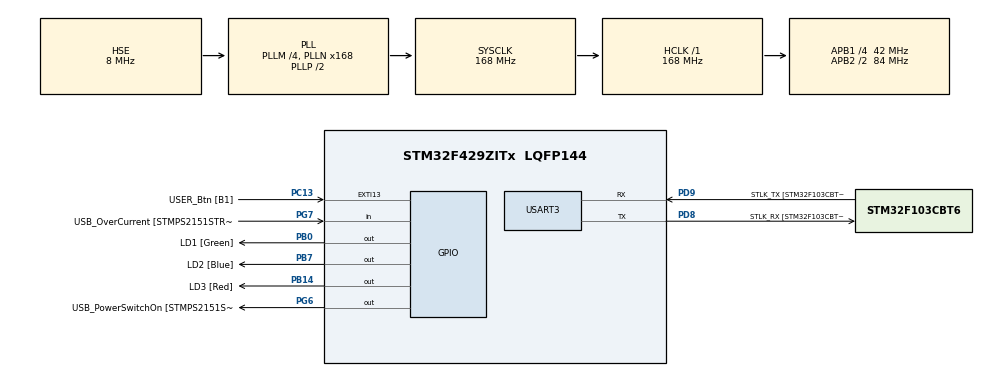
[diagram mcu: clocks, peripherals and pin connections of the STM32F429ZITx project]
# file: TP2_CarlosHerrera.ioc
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Mcu.Family=STM32F4
Mcu.Name=STM32F429ZITx
Mcu.Package=LQFP144
NVIC.PriorityGroup=NVIC_PRIORITYGROUP_4
NVIC.TIM1_UP_TIM10_IRQn=true\:15\:0\:false\:false\:true\:false\:true\:true
NVIC.TimeBase=TIM1_UP_TIM10_IRQn
NVIC.TimeBaseIP=TIM1
PA1.GPIO_Label=RMII_REF_CLK [LAN8742A-CZ-TR_REFCLK0]
PA1.Signal=ETH_REF_CLK
PA10.GPIO_Label=USB_ID
PA10.Signal=USB_OTG_FS_ID
PA11.GPIO_Label=USB_DM
PA11.Signal=USB_OTG_FS_DM
PA12.GPIO_Label=USB_DP
PA12.Signal=USB_OTG_FS_DP
PA13.GPIO_Label=TMS
PA13.Mode=Serial_Wire
PA13.Signal=SYS_JTMS-SWDIO
PA14.GPIO_Label=TCK
PA14.Mode=Serial_Wire
PA14.Signal=SYS_JTCK-SWCLK
PA2.GPIO_Label=RMII_MDIO [LAN8742A-CZ-TR_MDIO]
PA2.Signal=ETH_MDIO
PA7.GPIO_Label=RMII_CRS_DV [LAN8742A-CZ-TR_CRS_DV]
PA7.Signal=ETH_CRS_DV
PA8.GPIO_Label=USB_SOF [TP1]
PA8.Signal=USB_OTG_FS_SOF
PA9.GPIO_Label=USB_VBUS
PA9.Signal=USB_OTG_FS_VBUS
PB0.GPIO_Label=LD1 [Green]
PB0.Signal=GPIO_Output
PB13.GPIO_Label=RMII_TXD1 [LAN8742A-CZ-TR_TXD1]
PB13.Signal=ETH_TXD1
PB14.GPIO_Label=LD3 [Red]
PB14.Signal=GPIO_Output
PB7.GPIO_Label=LD2 [Blue]
PB7.Signal=GPIO_Output
PC1.GPIO_Label=RMII_MDC [LAN8742A-CZ-TR_MDC]
PC1.Signal=ETH_MDC
PC13.GPIO_Label=USER_Btn [B1]
PC13.Signal=GPXTI13
PC14/OSC32_IN.Mode=LSE-External-Oscillator
PC14/OSC32_IN.Signal=RCC_OSC32_IN
PC15/OSC32_OUT.Mode=LSE-External-Oscillator
PC15/OSC32_OUT.Signal=RCC_OSC32_OUT
PC4.GPIO_Label=RMII_RXD0 [LAN8742A-CZ-TR_RXD0]
PC4.Signal=ETH_RXD0
PC5.GPIO_Label=RMII_RXD1 [LAN8742A-CZ-TR_RXD1]
PC5.Signal=ETH_RXD1
PD8.GPIO_Label=STLK_RX [STM32F103CBT6_PA3]
PD8.Mode=Asynchronous
PD8.Signal=USART3_TX
PD9.GPIO_Label=STLK_TX [STM32F103CBT6_PA2]
PD9.Mode=Asynchronous
PD9.Signal=USART3_RX
PG11.GPIO_Label=RMII_TX_EN [LAN8742A-CZ-TR_TXEN]
PG11.Signal=ETH_TX_EN
PG13.GPIO_Label=RMII_TXD0 [LAN8742A-CZ-TR_TXD0]
PG13.Signal=ETH_TXD0
PG6.GPIO_Label=USB_PowerSwitchOn [STMPS2151STR_EN]
PG6.Signal=GPIO_Output
PG7.GPIO_Label=USB_OverCurrent [STMPS2151STR_FAULT]
PG7.Signal=GPIO_Input
PH0/OSC_IN.GPIO_Label=MCO [STM32F103CBT6_PA8]
PH0/OSC_IN.Mode=HSE-External-Clock-Source
PH0/OSC_IN.Signal=RCC_OSC_IN
PH1/OSC_OUT.Mode=HSE-External-Clock-Source
PH1/OSC_OUT.Signal=RCC_OSC_OUT
ProjectManager.HeapSize=0x200
ProjectManager.StackSize=0x400
ProjectManager.TargetToolchain=STM32CubeIDE
RCC.48MHZClocksFreq_Value=48000000
RCC.AHBFreq_Value=168000000
RCC.APB1CLKDivider=RCC_HCLK_DIV4
RCC.APB1Freq_Value=42000000
RCC.APB1TimFreq_Value=84000000
RCC.APB2CLKDivider=RCC_HCLK_DIV2
RCC.APB2Freq_Value=84000000
RCC.APB2TimCLKDivider=2
RCC.APB2TimFreq_Value=168000000
RCC.CortexFreq_Value=168000000
RCC.HCLKFreq_Value=168000000
RCC.HSE_VALUE=8000000
RCC.HSI_VALUE=16000000
RCC.PLLM=4
RCC.PLLMUL=RCC_PLL_MUL9
RCC.PLLN=168
RCC.PLLQ=7
RCC.PLLSourceVirtual=RCC_PLLSOURCE_HSE
RCC.PRESCALERUSB=RCC_USBCLKSOURCE_PLL_DIV1_5
RCC.SYSCLKFreq_VALUE=168000000
RCC.SYSCLKSource=RCC_SYSCLKSOURCE_PLLCLK
RCC.SYSCLKSourceVirtual=RCC_SYSCLKSOURCE_PLLCLK
RCC.USBFreq_Value=48000000
RCC.VCOOutputFreq_Value=336000000
USART3.VirtualMode=VM_ASYNC
VP_SYS_VS_tim1.Mode=TIM1
board=NUCLEO-F429ZI

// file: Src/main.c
/* USER CODE BEGIN Header */
/**
  ******************************************************************************
  * @file           : main.c
  * @brief          : Main program body
  ******************************************************************************
  * @attention
  *
  * Copyright (c) 2023 STMicroelectronics.
  * All rights reserved.
  *
  * This software is licensed under terms that can be found in the LICENSE file
  * in the root directory of this software component.
  * If no LICENSE file comes with this software, it is provided AS-IS.
  *
  ******************************************************************************
  */
/* USER CODE END Header */
#include "main.h"
#include "usart.h"
#include "gpio.h"

/* USER CODE BEGIN Includes */
#include "osKernel.h"
/* USER CODE END Includes */

/* USER CODE BEGIN PV */
osTaskObject osTask1;
osTaskObject osTask2;
osTaskObject osTask3;
osTaskObject osTask4;
osTaskObject osTask5;

uint32_t i = 0;
uint32_t j = 0;
uint32_t k = 0;
uint32_t m = 0;
uint32_t n = 0;
uint32_t w = 0;
uint32_t xy = 0;
/* USER CODE END PV */

void SystemClock_Config(void);
/* USER CODE BEGIN PFP */
static void task1(void);
static void task2(void);
static void task3(void);
static void task4(void);
static void task5(void);
/* USER CODE END PFP */

int main(void)
{

  /* MCU Configuration--------------------------------------------------------*/

  /* Reset of all peripherals, Initializes the Flash interface and the Systick. */
  HAL_Init();

  /* Configure the system clock */
  SystemClock_Config();

  /* Initialize all configured peripherals */
  MX_GPIO_Init();
  MX_USART3_UART_Init();
  /* USER CODE BEGIN 2 */
  osTaskCreate(&osTask1, OS_LOW_PRIORITY, task1);
  osTaskCreate(&osTask2, OS_HIGH_PRIORITY, task2);
  osTaskCreate(&osTask3, OS_HIGH_PRIORITY, task3);
  osTaskCreate(&osTask4, OS_LOW_PRIORITY, task4);
  osTaskCreate(&osTask5, OS_LOW_PRIORITY, task5);

  osStart();
  /* USER CODE END 2 */

  /* Infinite loop */
  while (1)
  {

    /* USER CODE BEGIN 3 */
      __WFI();
  }
  /* USER CODE END 3 */
}

void SystemClock_Config(void)
{
  RCC_OscInitTypeDef RCC_OscInitStruct = {0};
  RCC_ClkInitTypeDef RCC_ClkInitStruct = {0};

  /** Configure the main internal regulator output voltage
  */
  __HAL_RCC_PWR_CLK_ENABLE();
  __HAL_PWR_VOLTAGESCALING_CONFIG(PWR_REGULATOR_VOLTAGE_SCALE1);

  /** Initializes the RCC Oscillators according to the specified parameters
  * in the RCC_OscInitTypeDef structure.
  */
  RCC_OscInitStruct.OscillatorType = RCC_OSCILLATORTYPE_HSE;
  RCC_OscInitStruct.HSEState = RCC_HSE_BYPASS;
  RCC_OscInitStruct.PLL.PLLState = RCC_PLL_ON;
  RCC_OscInitStruct.PLL.PLLSource = RCC_PLLSOURCE_HSE;
  RCC_OscInitStruct.PLL.PLLM = 4;
  RCC_OscInitStruct.PLL.PLLN = 168;
  RCC_OscInitStruct.PLL.PLLP = RCC_PLLP_DIV2;
  RCC_OscInitStruct.PLL.PLLQ = 7;
  if (HAL_RCC_OscConfig(&RCC_OscInitStruct) != HAL_OK)
  {
    Error_Handler();
  }

  /** Initializes the CPU, AHB and APB buses clocks
  */
  RCC_ClkInitStruct.ClockType = RCC_CLOCKTYPE_HCLK|RCC_CLOCKTYPE_SYSCLK
                              |RCC_CLOCKTYPE_PCLK1|RCC_CLOCKTYPE_PCLK2;
  RCC_ClkInitStruct.SYSCLKSource = RCC_SYSCLKSOURCE_PLLCLK;
  RCC_ClkInitStruct.AHBCLKDivider = RCC_SYSCLK_DIV1;
  RCC_ClkInitStruct.APB1CLKDivider = RCC_HCLK_DIV4;
  RCC_ClkInitStruct.APB2CLKDivider = RCC_HCLK_DIV2;

  if (HAL_RCC_ClockConfig(&RCC_ClkInitStruct, FLASH_LATENCY_5) != HAL_OK)
  {
    Error_Handler();
  }
}

/* USER CODE BEGIN 4 */
static void task1(void)
{
//    uint32_t i = 0;

    while(1)
    {
        i++;
        osDelay(30000);
//        HAL_GPIO_TogglePin(LD2_GPIO_Port, LD2_Pin);
    }
}

static void task2(void)
{
//    uint32_t j = 0;

    while(1)
    {
        j++;
        osDelay(10);
        HAL_GPIO_TogglePin(LD2_GPIO_Port, LD2_Pin);
    }
}

static void task3(void)
{
//    uint32_t k = 0;

    while(1)
    {
        k++;
        osDelay(400);
        HAL_GPIO_TogglePin(LD3_GPIO_Port, LD3_Pin);
    }
}

static void task4(void)
{
//    uint32_t m = 0;

    while(1)
    {
        m++;
        osDelay(30000);
    }
}

static void task5(void)
{
//    uint32_t n = 0;

    while(1)
    {
        n++;
        osDelay(30000);
    }
}

void osSysTickHook(void)
{
	w++;
}

void osIdleTask(void)
{
    while(1)
    {
    	xy++;
    }
}

/* USER CODE END 4 */

void HAL_TIM_PeriodElapsedCallback(TIM_HandleTypeDef *htim)
{
  if (htim->Instance == TIM1) {
    HAL_IncTick();
  }
}

void Error_Handler(void)
{
  __disable_irq();
  while (1)
  {
  }
}
